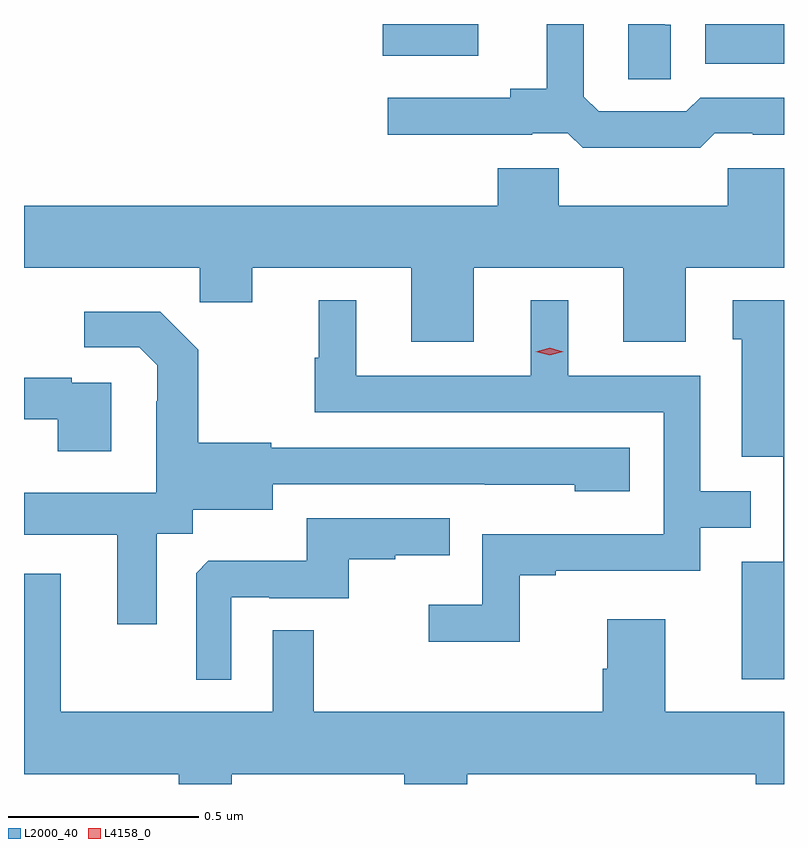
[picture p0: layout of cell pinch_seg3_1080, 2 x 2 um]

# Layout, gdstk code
import gdstk
lib = gdstk.Library(unit=1e-6, precision=1e-09)
def R(c, l, rs):  # rectangles x0, y0, x1, y1
    for r in rs: c.add(gdstk.rectangle(r[:2], r[2:], *l))
def P(c, l, *ps):  # polygons
    for p in ps: c.add(gdstk.Polygon(p, *l))
L2000_40 = (2000, 40)
L4158_0 = (4158, 0)

pinch_seg3_1080 = lib.new_cell('pinch_seg3_1080')
R(pinch_seg3_1080, L2000_40, [(255.227,701.453,255.434,701.558), (254.378,701.474,254.629,701.558)])
P(pinch_seg3_1080, L2000_40, [(255.136,701.556),(255.12,701.556),(255.12,701.558),(255.024,701.558),(255.024,701.413),(255.136,701.413)],
  [(255.252,701.271),(255.352,701.271),(255.352,701.267),(255.434,701.267),(255.434,701.364),(255.213,701.364),(255.177,701.328),(254.946,701.328),(254.907,701.367),(254.907,701.558),(254.81,701.558),(254.81,701.387),(254.714,701.387),(254.714,701.364),(254.391,701.364),(254.391,701.267),(254.771,701.267),(254.771,701.271),(254.865,701.271),(254.905,701.232),(255.213,701.232)],
  [(254.617,700.916),(255.011,700.916),(255.011,700.722),(255.175,700.722),(255.175,700.916),(255.434,700.916),(255.434,701.178),(255.286,701.178),(255.286,701.08),(254.841,701.08),(254.841,701.178),(254.681,701.178),(254.681,701.08),(253.434,701.08),(253.434,700.916),(253.897,700.916),(253.897,700.826),(254.035,700.826),(254.035,700.916),(254.453,700.916),(254.453,700.722),(254.617,700.722)],
  [(255.434,700.831),(255.299,700.831),(255.299,700.728),(255.323,700.728),(255.323,700.419),(255.432,700.419),(255.432,700.143),(255.323,700.143),(255.323,699.834),(255.434,699.834)],
  [(254.739,700.107),(254.833,700.107),(254.833,700.119),(255.213,700.119),(255.213,700.233),(255.347,700.233),(255.347,700.329),(255.213,700.329),(255.213,700.632),(254.866,700.632),(254.866,700.831),(254.768,700.831),(254.768,700.632),(254.308,700.632),(254.308,700.831),(254.21,700.831),(254.21,700.68),(254.199,700.68),(254.199,700.536),(255.117,700.536),(255.117,700.215),(254.64,700.215),(254.64,700.03),(254.499,700.03),(254.499,699.932),(254.739,699.932)],
  [(253.783,700.216),(253.878,700.216),(253.878,700.28),(254.089,700.28),(254.089,700.347),(254.647,700.347),(254.647,700.346),(254.883,700.346),(254.883,700.328),(255.028,700.328),(255.028,700.443),(254.085,700.443),(254.085,700.456),(253.893,700.456),(253.893,700.701),(253.793,700.801),(253.593,700.801),(253.593,700.707),(253.737,700.707),(253.784,700.66),(253.784,700.565),(253.782,700.565),(253.782,700.324),(253.434,700.324),(253.434,700.214),(253.679,700.214),(253.679,699.978),(253.783,699.978)],
  [(253.663,700.614),(253.559,700.614),(253.559,700.627),(253.434,700.627),(253.434,700.518),(253.523,700.518),(253.523,700.434),(253.663,700.434)],
  [(253.98,700.05),(254.08,700.05),(254.08,700.047),(254.288,700.047),(254.288,700.149),(254.411,700.149),(254.411,700.16),(254.555,700.16),(254.555,700.257),(254.178,700.257),(254.178,700.145),(253.919,700.145),(253.887,700.113),(253.887,699.833),(253.98,699.833)],
  [(253.981,699.584),(254.435,699.584),(254.435,699.558),(254.6,699.558),(254.6,699.584),(255.36,699.584),(255.36,699.558),(255.434,699.558),(255.434,699.748),(255.121,699.748),(255.121,699.991),(254.969,699.991),(254.969,699.861),(254.957,699.861),(254.957,699.748),(254.197,699.748),(254.197,699.962),(254.088,699.962),(254.088,699.748),(253.531,699.748),(253.531,700.111),(253.434,700.111),(253.434,699.584),(253.841,699.584),(253.841,699.558),(253.981,699.558)])
P(pinch_seg3_1080, L4158_0, [(254.817,700.686),(254.781,700.696),(254.781,700.696),(254.781,700.696),(254.817,700.706),(254.853,700.696),(254.853,700.696),(254.853,700.696)])

lib.write_gds('pinch_seg3_1080.gds')
